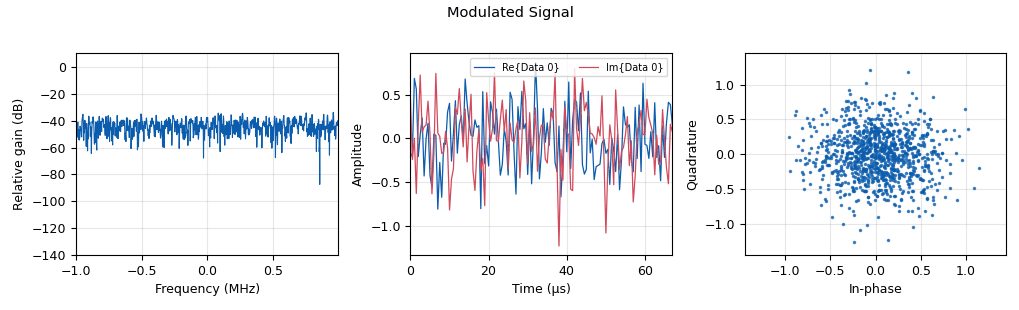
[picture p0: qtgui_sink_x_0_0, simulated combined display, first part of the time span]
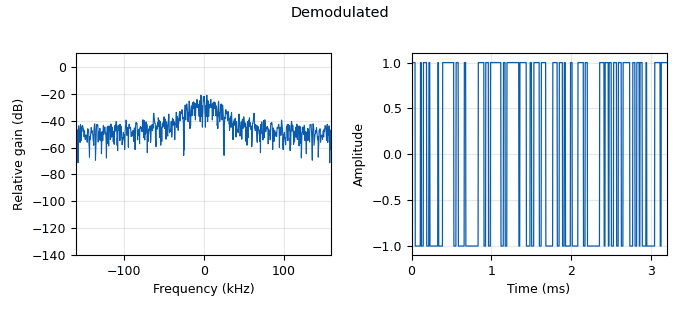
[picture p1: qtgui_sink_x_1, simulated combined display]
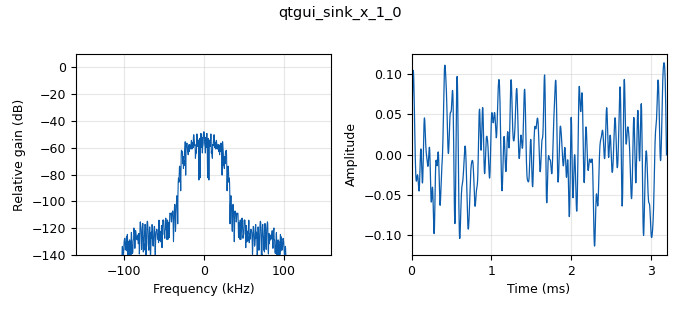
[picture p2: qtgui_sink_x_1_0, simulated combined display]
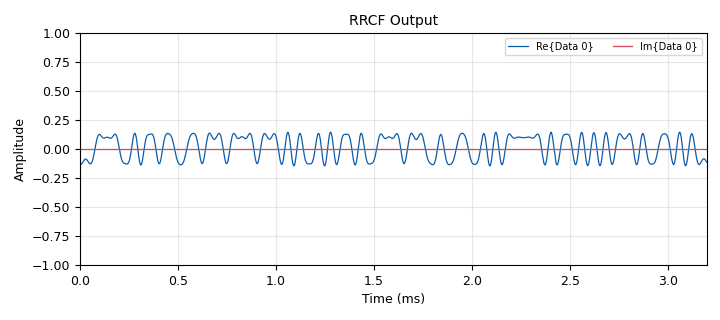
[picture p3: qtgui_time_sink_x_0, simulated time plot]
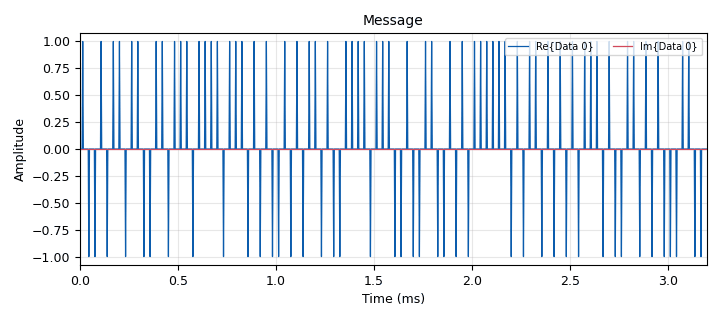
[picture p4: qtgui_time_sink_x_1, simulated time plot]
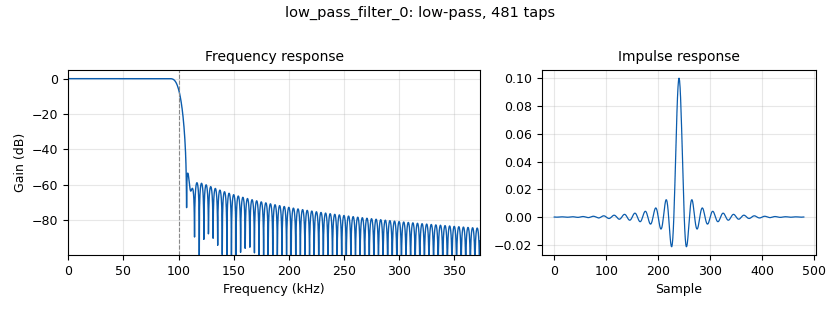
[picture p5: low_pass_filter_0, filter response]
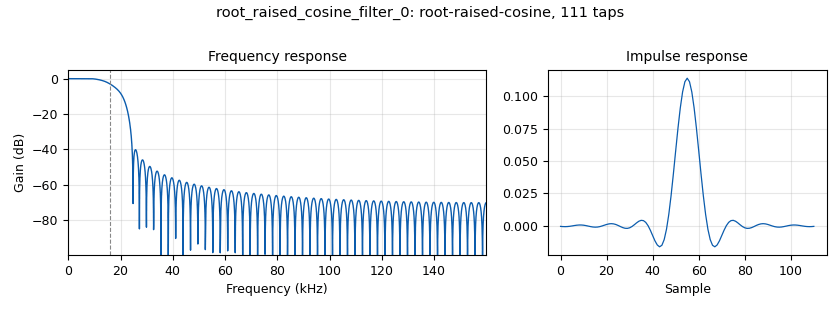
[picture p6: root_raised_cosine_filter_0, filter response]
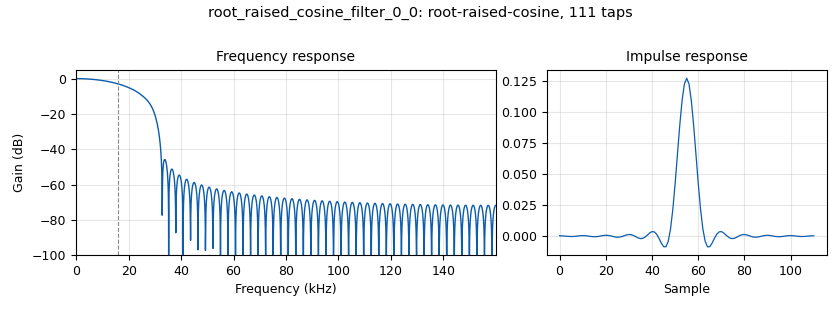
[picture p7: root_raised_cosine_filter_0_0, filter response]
options:
  parameters:
    author: abhi
    generate_options: qt_gui
    id: Lab8_1
    output_language: python
    title: Not titled yet
  states: {}

blocks:
- name: alpha
  id: variable_qtgui_range
  parameters:
    start: '0.01'
    step: '0.01'
    stop: '1'
    value: '0.5'
  states: {}
- name: noise
  id: variable_qtgui_range
  parameters:
    start: '0.01'
    step: '0.01'
    stop: '1'
    value: '0.5'
  states: {}
- name: samp_rate
  id: variable
  parameters:
    value: symb_rate*sps
  states: {}
- name: sps
  id: variable
  parameters:
    value: '10'
  states: {}
- name: symb_rate
  id: variable
  parameters:
    value: '32000'
  states: {}
- name: analog_noise_source_x_0
  id: analog_noise_source_x
  parameters:
    amp: noise
    noise_type: analog.GR_GAUSSIAN
    seed: '0'
    type: complex
  states: {}
- name: analog_random_source_x_0
  id: analog_random_source_x
  parameters:
    max: '2'
    min: '0'
    num_samps: '1000'
    repeat: 'True'
    type: int
  states: {}
- name: analog_sig_source_x_0
  id: analog_sig_source_x
  parameters:
    amp: '1'
    freq: '100000'
    offset: '0'
    phase: '0'
    samp_rate: '2000000'
    type: complex
    waveform: analog.GR_COS_WAVE
  states: {}
- name: analog_sig_source_x_0_0
  id: analog_sig_source_x
  parameters:
    amp: '1'
    freq: '100000'
    offset: '0'
    phase: '0'
    samp_rate: '2000000'
    type: complex
    waveform: analog.GR_COS_WAVE
  states: {}
- name: blocks_add_const_vxx_0
  id: blocks_add_const_vxx
  parameters:
    const: '-1'
    type: float
  states: {}
- name: blocks_add_xx_0
  id: blocks_add_xx
  parameters:
    type: complex
  states: {}
- name: blocks_complex_to_real_0
  id: blocks_complex_to_real
  parameters: {}
  states: {}
- name: blocks_multiply_const_vxx_0
  id: blocks_multiply_const_vxx
  parameters:
    const: '2'
    type: float
  states: {}
- name: blocks_multiply_xx_0
  id: blocks_multiply_xx
  parameters:
    type: complex
  states: {}
- name: blocks_multiply_xx_0_0
  id: blocks_multiply_xx
  parameters:
    type: complex
  states: {}
- name: blocks_threshold_ff_0
  id: blocks_threshold_ff
  parameters:
    high: '0.001'
    init: '0'
    low: '-0.001'
  states: {}
- name: digital_chunks_to_symbols_xx_0
  id: digital_chunks_to_symbols_xx
  parameters:
    dimension: '1'
    in_type: int
    out_type: complex
    symbol_table: (-1, 1)
  states: {}
- name: interp_fir_filter_xxx_0
  id: interp_fir_filter_xxx
  parameters:
    interp: sps
    taps: '1'
    type: ccf
  states: {}
- name: low_pass_filter_0
  id: low_pass_filter
  parameters:
    cutoff_freq: '100000'
    gain: '1'
    interp: '1'
    samp_rate: '2000000'
    type: interp_fir_filter_ccf
    width: '10000'
    win: window.WIN_HAMMING
  states: {}
- name: qtgui_sink_x_0
  id: qtgui_sink_x
  parameters:
    bw: samp_rate
    fc: '0'
    fftsize: '1024'
    gui_hint: tab@0
    name: '"RRCF Output"'
    type: complex
  states: {state: disabled}
- name: qtgui_sink_x_0_0
  id: qtgui_sink_x
  parameters:
    bw: '2000000'
    fc: '0'
    fftsize: '1024'
    gui_hint: tab@0
    name: '"Modulated Signal"'
    type: complex
  states: {}
- name: qtgui_sink_x_1
  id: qtgui_sink_x
  parameters:
    bw: samp_rate
    fc: '0'
    fftsize: '1024'
    gui_hint: tab@1
    name: '"Demodulated"'
    type: float
  states: {}
- name: qtgui_sink_x_1_0
  id: qtgui_sink_x
  parameters:
    bw: samp_rate
    fc: '0'
    fftsize: '1024'
    gui_hint: tab@1
    type: float
  states: {}
- name: qtgui_time_sink_x_0
  id: qtgui_time_sink_x
  parameters:
    gui_hint: tab@0
    name: '"RRCF Output"'
    size: '1024'
    srate: samp_rate
    type: complex
  states: {}
- name: qtgui_time_sink_x_1
  id: qtgui_time_sink_x
  parameters:
    gui_hint: tab@0
    name: '"Message"'
    size: '1024'
    srate: samp_rate
    type: complex
  states: {}
- name: rational_resampler_xxx_0
  id: rational_resampler_xxx
  parameters:
    decim: '4'
    interp: '25'
    type: ccf
  states: {}
- name: rational_resampler_xxx_0_0
  id: rational_resampler_xxx
  parameters:
    decim: '25'
    interp: '4'
    type: ccf
  states: {}
- name: root_raised_cosine_filter_0
  id: root_raised_cosine_filter
  parameters:
    alpha: alpha
    gain: '1'
    interp: '1'
    ntaps: 11*sps
    samp_rate: symb_rate*sps
    sym_rate: symb_rate
    type: interp_fir_filter_ccf
  states: {}
- name: root_raised_cosine_filter_0_0
  id: root_raised_cosine_filter
  parameters:
    alpha: '1'
    gain: '1'
    interp: '1'
    ntaps: 11*sps
    samp_rate: symb_rate*sps
    sym_rate: symb_rate
    type: interp_fir_filter_ccf
  states: {}
- name: tab
  id: qtgui_tab_widget
  parameters:
    label0: Modulated
    label1: Demodulated
    num_tabs: '2'
  states: {}
- name: virtual_sink_0
  id: virtual_sink
  parameters: {}
  states: {}
- name: virtual_source_0
  id: virtual_source
  parameters: {}
  states: {}

connections:
- [analog_noise_source_x_0, '0', blocks_add_xx_0, '0']
- [analog_random_source_x_0, '0', digital_chunks_to_symbols_xx_0, '0']
- [analog_sig_source_x_0, '0', blocks_multiply_xx_0, '1']
- [analog_sig_source_x_0_0, '0', blocks_multiply_xx_0_0, '1']
- [blocks_add_const_vxx_0, '0', qtgui_sink_x_1, '0']
- [blocks_add_xx_0, '0', qtgui_sink_x_0_0, '0']
- [blocks_add_xx_0, '0', virtual_sink_0, '0']
- [blocks_complex_to_real_0, '0', blocks_threshold_ff_0, '0']
- [blocks_complex_to_real_0, '0', qtgui_sink_x_1_0, '0']
- [blocks_multiply_const_vxx_0, '0', blocks_add_const_vxx_0, '0']
- [blocks_multiply_xx_0, '0', blocks_add_xx_0, '1']
- [blocks_multiply_xx_0_0, '0', low_pass_filter_0, '0']
- [blocks_threshold_ff_0, '0', blocks_multiply_const_vxx_0, '0']
- [digital_chunks_to_symbols_xx_0, '0', interp_fir_filter_xxx_0, '0']
- [interp_fir_filter_xxx_0, '0', qtgui_time_sink_x_1, '0']
- [interp_fir_filter_xxx_0, '0', root_raised_cosine_filter_0, '0']
- [low_pass_filter_0, '0', rational_resampler_xxx_0_0, '0']
- [rational_resampler_xxx_0, '0', blocks_multiply_xx_0, '0']
- [rational_resampler_xxx_0_0, '0', root_raised_cosine_filter_0_0, '0']
- [root_raised_cosine_filter_0, '0', qtgui_sink_x_0, '0']
- [root_raised_cosine_filter_0, '0', qtgui_time_sink_x_0, '0']
- [root_raised_cosine_filter_0, '0', rational_resampler_xxx_0, '0']
- [root_raised_cosine_filter_0_0, '0', blocks_complex_to_real_0, '0']
- [virtual_source_0, '0', blocks_multiply_xx_0_0, '0']

metadata:
  file_format: 1
  grc_version: 3.9.8.0-rc1
